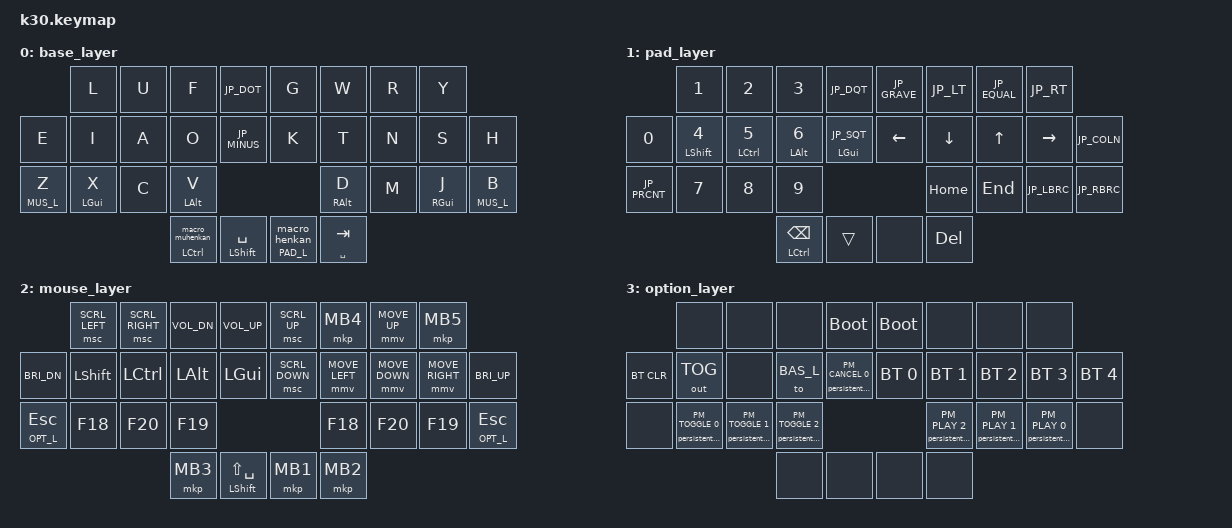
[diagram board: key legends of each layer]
/*
 * Copyright (c) 2020 The ZMK Contributors
 *
 * SPDX-License-Identifier: MIT
 */

#include <behaviors.dtsi>
#include <dt-bindings/zmk/keys.h>
#include <dt-bindings/zmk/bt.h>
#include <dt-bindings/zmk/outputs.h>
#include <dt-bindings/zmk/jp_enter.h>

#include <dt-bindings/zmk/modifiers.h>
#include <dt-bindings/zmk/persistent_macro.h>

#define ZMK_POINTING_DEFAULT_MOVE_VAL 5600  // QMK fj88_30: 2 * 28 / 10ms
#define ZMK_POINTING_DEFAULT_SCRL_VAL 250   // QMK fj88_30: 1 * 20 / 80ms
#include <dt-bindings/zmk/pointing.h>

#define BAS_L 0
#define PAD_L 1
#define MUS_L 2
#define OPT_L 3

#define ___     &trans
#define XXX     &none
#define PRESSED &none
#define _MHE_   LC(LS(LALT))

&lt {
  flavor = "tap-preferred";
  tapping-term-ms = <180>;
  quick-tap-ms = <175>;
};
&mt {
  flavor = "tap-preferred";
  tapping-term-ms = <180>;
  quick-tap-ms = <175>;
};
&mmv {
  trigger-period-ms = <20>;
  time-to-max-speed-ms = <600>;
  acceleration-exponent = <1>;
};
&msc {
  trigger-period-ms = <16>;
  time-to-max-speed-ms = <1200>;
  acceleration-exponent = <1>;
};

/ {
  behaviors {
    mct: muhenkan_ctrl_tap {
      compatible = "zmk,behavior-hold-tap";
      #binding-cells = <2>;
      flavor = "balanced";
      tapping-term-ms = <180>;
      quick-tap-ms = <175>;
      bindings = <&kp>, <&macro_muhenkan>;
      display-name = "Muhenkan Ctrl-Tap";
    };
    hlt: henkan_layer_tap {
      compatible = "zmk,behavior-hold-tap";
      #binding-cells = <2>;
      flavor = "balanced";
      tapping-term-ms = <180>;
      quick-tap-ms = <175>;
      bindings = <&mo>, <&macro_henkan>;
      display-name = "Henkan Layer-Tap";
    };
    omht: opt_mus_hold_tap {
      compatible = "zmk,behavior-hold-tap";
      #binding-cells = <2>;
      flavor = "balanced";
      tapping-term-ms = <180>;
      quick-tap-ms = <175>;
      bindings = <&mo>, <&tog>;
      display-name = "Opt/Mus Hold-Tap";
    };
    // 他キーの押下と同時にhold確定
    sands: space_and_shift {
      compatible = "zmk,behavior-hold-tap";
      #binding-cells = <2>;
      flavor = "hold-preferred";
      tapping-term-ms = <180>;
      quick-tap-ms = <175>;
      bindings = <&kp>, <&kp>;
      display-name = "Space and Shift";
    };
    // Mac: 素押しでLA(INT3)(=Option+¥) → `\`
    // Win: Shift押しながらでINT1 → `\`（Shiftはmaskして送らないのでINT1単独=`\`）
    jbsl: jp_backslash_morph {
      compatible = "zmk,behavior-mod-morph";
      #binding-cells = <0>;
      bindings = <&kp LA(INT3)>, <&kp JP_BSLH>;
      mods = <(MOD_LSFT|MOD_RSFT)>;
    };
  };

  macros {
    ZMK_MACRO(macro_muhenkan_esc,
      wait-ms = <5>;
      tap-ms = <5>;
      bindings = <&kp INT5>, <&kp LANG2>, <&kp ESC>;
    )
    ZMK_MACRO(macro_henkan,
      wait-ms = <5>;
      tap-ms = <5>;
      bindings = <&kp INT4>, <&kp LANG1>;
    )
    ZMK_MACRO(macro_muhenkan,
      wait-ms = <5>;
      tap-ms = <5>;
      bindings = <&kp INT5>, <&kp LANG2>;
    )
    ZMK_MACRO(macro_send_exit,
      wait-ms = <1>;
      tap-ms = <1>;
      bindings = <&kp E>, <&kp X>, <&kp I>, <&kp T>;
    )
  };

  combos {
    compatible = "zmk,combos";

    // === BAS_L: Rare letters ===
    cmb_q     { key-positions = < 0  8>; layers = <BAS_L>; bindings = <&kp Q>;                       };  // l+e
    cmb_p     { key-positions = <17 25>; layers = <BAS_L>; bindings = <&kp P>;                       };  // h+b

    // === BAS_L: Adjacent finger combos ===
    cmb_tilde { key-positions = <19 20>; layers = <BAS_L>; bindings = <&kp JP_TILDE>;                };  // x+c
    cmb_under { key-positions = <23 24>; layers = <BAS_L>; bindings = <&kp JP_UNDER>;                };  // m+j
    cmb_lpar  { key-positions = <20 21>; layers = <BAS_L>; bindings = <&kp JP_LPAR>;                 };  // c+v
    cmb_rpar  { key-positions = <22 23>; layers = <BAS_L>; bindings = <&kp JP_RPAR>;                 };  // d+m
    cmb_lbkt  { key-positions = < 0  1>; layers = <BAS_L>; bindings = <&kp JP_LBKT>;                 };  // l+u
    cmb_rbkt  { key-positions = < 6  7>; layers = <BAS_L>; bindings = <&kp JP_RBKT>;                 };  // r+y
    cmb_excl  { key-positions = < 6 16>; layers = <BAS_L>; bindings = <&kp JP_EXCL>;                 };  // r+s
    cmb_qmark { key-positions = <15 24>; layers = <BAS_L>; bindings = <&kp JP_QMARK>;                };  // n+j
    cmb_pipe  { key-positions = < 5 15>; layers = <BAS_L>; bindings = <&kp JP_PIPE>;                 };  // w+n
    cmb_amp   { key-positions = <14 23>; layers = <BAS_L>; bindings = <&kp JP_AMPS>;                 };  // t+m
    cmb_at    { key-positions = < 5  7>; layers = <BAS_L>; bindings = <&kp JP_AT>;                   };  // w+y
    cmb_plus  { key-positions = <19 21>; layers = <BAS_L>; bindings = <&kp JP_PLUS>;                 };  // x+v

    // === BAS_L: Pinky-column / skip-col combos ===
    cmb_astrk { key-positions = <22 24>; layers = <BAS_L>; bindings = <&kp JP_ASTRK>;                };  // d+j  (symm. to +)
    cmb_caret { key-positions = < 0  2>; layers = <BAS_L>; bindings = <&kp JP_CARET>;                };  // l+f
    cmb_hash  { key-positions = < 4  5>; layers = <BAS_L>; bindings = <&kp JP_HASH>;                 };  // g+w

    // === BAS_L: Same-column combos ===
    cmb_comma_alt { key-positions = < 3 12>; layers = <BAS_L PAD_L>; bindings = <&mt LALT JP_COMMA>; };  // .+-  Hold=ALT Tap=,
    cmb_fslh  { key-positions = < 4 13>; layers = <BAS_L>; bindings = <&kp JP_FSLH>;                 };  // g+k
    cmb_semi  { key-positions = < 5 14>; layers = <BAS_L>; bindings = <&kp JP_SEMI>;                 };  // w+t
    cmb_dllr  { key-positions = < 6 15>; layers = <BAS_L>; bindings = <&kp JP_DLLR>;                 };  // r+n
    cmb_yen   { key-positions = <11 21>; layers = <BAS_L>; bindings = <&kp JP_YEN>;                  };  // o+v
    cmb_bslh  { key-positions = <14 22>; layers = <BAS_L>; bindings = <&jbsl>;                      };  // t+d  (Mac:素 / Win:Shift+)

    // === BAS_L: Control / edit ===
    cmb_bspc     { key-positions = <13 14>; layers = <BAS_L>;          bindings = <&kp BSPC>;            };  // k+t
    cmb_esc      { key-positions = < 3  4>; layers = <BAS_L MUS_L>;    bindings = <&kp ESC>;             };  // .+g
    cmb_m_esc    { key-positions = <21 26>; layers = <BAS_L>;          bindings = <&macro_muhenkan_esc>; };
    cmb_enter    { key-positions = <22 28>; layers = <BAS_L>;          bindings = <&kp ENTER>;           };
    cmb_mus_lock { key-positions = <18 25>; layers = <BAS_L MUS_L>;    bindings = <&omht OPT_L MUS_L>;   };  // Z+B tap=MUS_Lトグル hold=OPT_L

    // === BAS_L: 片手だけで OPT_L に入る(DFU 用) ===
    cmb_opt_l { key-positions = < 2  8 20>; layers = <BAS_L>; bindings = <&sl OPT_L>; require-prior-idle-ms = <500>; };  // F + E + C
    cmb_opt_r { key-positions = < 5 17 23>; layers = <BAS_L>; bindings = <&sl OPT_L>; require-prior-idle-ms = <500>; };  // W + H + M

    // === BAS_L: Vim macros ===
    cmb_exit  { key-positions = < 8 19>; layers = <BAS_L>; bindings = <&macro_send_exit>;            };  // e+x

    // === PAD_L: F-keys (anchor: pos 6 = JP_EQUAL) ===
    cmb_pad_f1  { key-positions = < 6  0>; layers = <PAD_L>; bindings = <&kp F1>;   };  //  =+1
    cmb_pad_f2  { key-positions = < 6  1>; layers = <PAD_L>; bindings = <&kp F2>;   };  //  =+2
    cmb_pad_f3  { key-positions = < 6  2>; layers = <PAD_L>; bindings = <&kp F3>;   };  //  =+3
    cmb_pad_f4  { key-positions = < 6  9>; layers = <PAD_L>; bindings = <&kp F4>;   };  //  =+4
    cmb_pad_f5  { key-positions = < 6 10>; layers = <PAD_L>; bindings = <&kp F5>;   };  //  =+5
    cmb_pad_f6  { key-positions = < 6 11>; layers = <PAD_L>; bindings = <&kp F6>;   };  //  =+6
    cmb_pad_f7  { key-positions = < 6 19>; layers = <PAD_L>; bindings = <&kp F7>;   };  //  =+7
    cmb_pad_f8  { key-positions = < 6 20>; layers = <PAD_L>; bindings = <&kp F8>;   };  //  =+8
    cmb_pad_f9  { key-positions = < 6 21>; layers = <PAD_L>; bindings = <&kp F9>;   };  //  =+9
    cmb_pad_f10 { key-positions = < 6  8>; layers = <PAD_L>; bindings = <&kp F10>;  };  //  =+0
    cmb_pad_f11 { key-positions = < 6 19 20>; layers = <PAD_L>; bindings = <&kp F11>; };  // =+7+8
    cmb_pad_f12 { key-positions = < 6 20 21>; layers = <PAD_L>; bindings = <&kp F12>; };  // =+8+9

    // === PAD_L: Page nav ===
    cmb_pad_pgup { key-positions = < 6 15>; layers = <PAD_L>; bindings = <&kp PG_UP>; };  // =+↑
    cmb_pad_pgdn { key-positions = < 5 14>; layers = <PAD_L>; bindings = <&kp PG_DN>; };  // <+↓

    // === PAD_L: App menu ===
    cmb_pad_app  { key-positions = <23 24>; layers = <PAD_L>; bindings = <&kp K_APP>; };  // END+{
  };

  keymap {
    compatible = "zmk,keymap";
    //                |     0       |     1       |     2       |     3     |    |     4       |     5       |     6       |     7       |
    //  |     8       |     9       |    10       |    11       |    12     |    |    13       |    14       |    15       |    16       |    17     |
    //  |    18       |    19       |    20       |    21       |                              |    22       |    23       |    24       |    25     |
    //                                            |    26       |    27     |    |    28       |    29       |

    //      L     U     F     .          G     W     R     Y
    // E    I     A     O     -          K     T     N     S     H
    // Z/M  X/G   C     V/A              D/A   M     J/G   B/M
    //            muh/C spc/S      hen/P Tab/Hy
    base_layer {
      bindings = <
                      &kp L         &kp U         &kp F         &kp JP_DOT       &kp G         &kp W         &kp R         &kp Y
        &kp E         &kp I         &kp A         &kp O         &kp JP_MINUS     &kp K         &kp T         &kp N         &kp S         &kp H
        &lt MUS_L Z   &mt LGUI X    &kp C         &mt LALT V                                   &mt RALT D    &kp M         &mt RGUI J    &lt MUS_L B
                                                  &mct LCTRL 0  &sands LSHFT SPACE  &hlt PAD_L 0  &mt SPACE TAB
      >;
    };

    //      1     2     3     "          `     <     =     >
    // 0    4/S   5/C   6/A   '/G        ←     ↓     ↑     →     :
    // %    7     8     9                      HOME  END   {     }
    //                  BS/C  spc/S      PRS   DEL
    pad_layer {
      bindings = <
                      &kp N1        &kp N2        &kp N3        &kp JP_DQT       &kp JP_GRAVE  &kp JP_LT     &kp JP_EQUAL  &kp JP_RT
        &kp N0        &mt LSHFT N4  &mt LCTRL N5  &mt LALT N6   &mt LGUI JP_SQT  &kp LEFT      &kp DOWN      &kp UP        &kp RIGHT     &kp JP_COLN
        &kp JP_PRCNT  &kp N7        &kp N8        &kp N9                                       &kp HOME      &kp END       &kp JP_LBRC   &kp JP_RBRC
                                                  &mt LCTRL BSPC ___             PRESSED       &kp DEL
      >;
    };

    //      ←S    →S    V-    V+         ↑S    MB4   ↑M    MB5
    // B-   Sft   Ctl   Alt   Gui        ↓S    ←M    ↓M    →M    B+
    // O/E  F18   F20   F19              F18   F20   F19   O/E
    //                  MB3   Sft        MB1   MB2
    mouse_layer {
      bindings = <
                         &msc SCRL_LEFT  &msc SCRL_RIGHT  &kp C_VOL_DN  &kp C_VOL_UP     &msc SCRL_UP    &mkp MB4        &mmv MOVE_UP    &mkp MB5
        &kp C_BRI_DN     &kp LSHFT       &kp LCTRL        &kp LALT      &kp LGUI         &msc SCRL_DOWN  &mmv MOVE_LEFT  &mmv MOVE_DOWN  &mmv MOVE_RIGHT  &kp C_BRI_UP
        &lt OPT_L ESC    &kp F18         &kp F20          &kp F19                                        &kp F18         &kp F20         &kp F19          &lt OPT_L ESC
                                                          &mkp MB3  &mt LSHFT LS(SPACE)  &mkp MB1        &mkp MB2
      >;
    };

    //      x     x     x     boot       boot  x     x     x
    // BT_C Tog   x     BAS   PM_C       BT_0  BT_1  BT_2  BT_3  BT_4
    // PRS  PM1T  PM2T  PM3T                    PM3P  PM2P  PM1P  PRS
    //                  x     x          x     x
    option_layer {
      bindings = <
                      XXX           XXX           XXX           &bootloader      &bootloader   XXX           XXX           XXX
        &bt BT_CLR    &out OUT_TOG  XXX           &to BAS_L     &persistent_macro PM_CANCEL 0   &bt BT_SEL 0  &bt BT_SEL 1  &bt BT_SEL 2  &bt BT_SEL 3  &bt BT_SEL 4
        PRESSED       &persistent_macro PM_TOGGLE 0  &persistent_macro PM_TOGGLE 1  &persistent_macro PM_TOGGLE 2                    &persistent_macro PM_PLAY 2  &persistent_macro PM_PLAY 1  &persistent_macro PM_PLAY 0  PRESSED
                                                  XXX           XXX              XXX           XXX
      >;
    };

  };  // keymap

};
